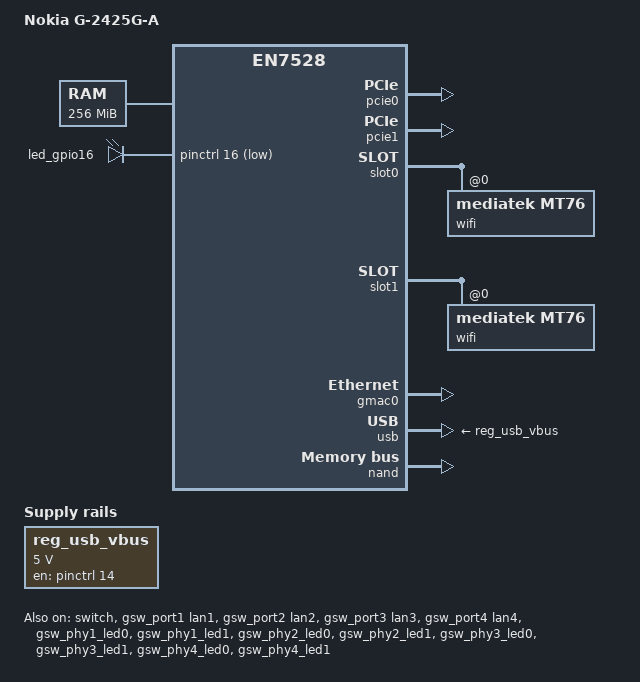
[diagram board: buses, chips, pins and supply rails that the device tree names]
// SPDX-License-Identifier: (GPL-2.0-only OR BSD-2-Clause)
/*
 * Nokia G-2425G-A (Airtel XStream Fiber) - RAM-only (initramfs) profile
 * OpenWrt target: econet / en7528
 *
 * Hardware (verified on the live unit, see the project handoff):
 *   SoC   : EcoNet EN7528, 2x MIPS 1004Kc, 256 MB RAM
 *   Wi-Fi : MT7603E   on PCIe0 (2.4 GHz) - 14c3:7603
 *           MT7663    on PCIe1 (5 GHz)  - 14c3:7663 (mt7615 driver)
 *   NAND  : SPI-NAND, 128 KiB erase blocks, 256 MiB
 *   USB   : EN7528 xHCI, VBUS = GPIO14 (active high)
 *
 * This image is intended to be booted from RAM and must never write flash.
 * &nand is kept enabled so the per-unit MAC addresses can be read from the
 * "ri" partition, but it deliberately omits:
 *
 *   econet,can-write-factory-bbt   -> the en75_bmt driver then refuses to
 *                                     write/rebuild the bad-block table
 *   econet,enable-remap            -> read-time block remapping, i.e. a
 *                                     flash write on a plain read
 *
 * so the BMT driver only ever reads. Partition offsets are confirmed against
 * this unit's own kernel (handoff Round 14), not a sibling board.
 *
 * As defence in depth every partition is ALSO marked read-only, so even a stray
 * "mtd write" / "flashcp" from an interactive shell is refused at the MTD layer
 * (ofpart turns "read-only" into mask_flags |= MTD_WRITEABLE, which clears the
 * write permission). That keeps the whole flash - bootloader, both A/B image
 * slots, and the vendor "config"/"data" UBIFS - byte identical across a power
 * cycle. Drop the flags only for a planned flash install.
 *
 * "rootfs" deliberately does NOT carry "linux,rootfs". add_mtd_device()
 * (drivers/mtd/mtdcore.c) reads that property and sets the kernel's global
 * ROOT_DEV to the partition, i.e. "mount and boot user space from" it, which is
 * the opposite of what a RAM-only boot wants. Add it, together with a cmdline
 * "root=", only if this board is ever installed to flash.
 *
 * Known TODOs (handoff Rounds 15/20):
 *   - 5 GHz calibration is embedded as "mediatek,eeprom-data" on &slot1 (see the
 *     note there). The 2.4 GHz MT7603 needs none: it already reports a full
 *     20 dBm txpower from its own OTP/efuse (measured live).
 *   - LED / button GPIO map is only partly known: the LAN socket LEDs are now
 *     wired through the switch PHY pinctrl (see &pinctrl below), the single
 *     GPIO LED and the button candidates are still unverified.
 */

/dts-v1/;

#include "en7528.dtsi"

#include <dt-bindings/gpio/gpio.h>
#include <dt-bindings/input/input.h>
#include <dt-bindings/leds/common.h>

/ {
	model = "Nokia G-2425G-A";
	compatible = "nokia,g2425g-a", "econet,en7528";

	memory@0 {
		device_type = "memory";
		reg = <0x00000000 0x10000000>;	/* 256 MB */
	};

	chosen {
		stdout-path = "/serial@1fbf0000:115200";
		linux,usable-memory-range = <0x00020000 0x0ffe0000>;
	};

	/*
	 * Only one LED is driven by a plain GPIO on this board
	 * (/proc/tc3162/led_def: led 42 -> GPIO16). Polarity and the physical
	 * LED it lights are unverified, so no color/function is asserted and
	 * 01_leds attaches no trigger.
	 */
	leds {
		compatible = "gpio-leds";

		led_gpio16: led-16 {
			gpios = <&pinctrl 16 GPIO_ACTIVE_LOW>;
		};
	};

	/* USB port power: GPIO14, active high (vendor-confirmed). */
	reg_usb_vbus: regulator-usb-vbus {
		compatible = "regulator-fixed";
		regulator-name = "usb-vbus";
		regulator-min-microvolt = <5000000>;
		regulator-max-microvolt = <5000000>;
		gpios = <&pinctrl 14 GPIO_ACTIVE_HIGH>;
		enable-active-high;
		regulator-always-on;
	};

	/*
	 * Button candidates from the vendor's button_driver.ko table
	 * (handoff Round 15). Which is reset/WPS/WLAN is not known, so this is
	 * disabled until a physical press test identifies them.
	 */
	keys {
		compatible = "gpio-keys-polled";
		poll-interval = <100>;
		status = "disabled";

		key-gpio-17 {
			label = "gpio17";
			gpios = <&pinctrl 17 GPIO_ACTIVE_LOW>;
			linux,code = <KEY_PROG1>;
		};

		key-gpio-16 {
			label = "gpio16";
			gpios = <&pinctrl 16 GPIO_ACTIVE_LOW>;
			linux,code = <KEY_PROG2>;
		};

		key-gpio-11 {
			label = "gpio11";
			gpios = <&pinctrl 11 GPIO_ACTIVE_LOW>;
			linux,code = <KEY_PROG3>;
		};

		key-gpio-18 {
			label = "gpio18";
			gpios = <&pinctrl 18 GPIO_ACTIVE_LOW>;
			linux,code = <KEY_PROG4>;
		};
	};
};

/* ------------------------------- PCIe ------------------------------- */

&pcie0 {
	status = "okay";
};

&pcie1 {
	status = "okay";
};

/*
 * 2.4 GHz radio. MAC = ri[0x3e] + 9, matching the vendor ra0
 * (18:45:93:71:cd:09). Calibration EEPROM is a UBIFS file, see TODO above.
 */
&slot0 {
	status = "okay";

	wifi@0,0 {
		compatible = "mediatek,mt76";
		reg = <0x0000 0 0 0 0>;
		nvmem-cells = <&macaddr_ri 9>;
		nvmem-cell-names = "mac-address";
		ieee80211-freq-limit = <2400000 2500000>;
	};
};

/*
 * 5 GHz radio (MT7663/MT7613, mt7615 driver). MAC = ri[0x3e] + 13,
 * matching the vendor rai0 (18:45:93:71:cd:0d).
 *
 * CALIBRATION (handoff Round 20).
 * Without a calibration source the mt7615 driver runs on chip defaults and
 * reports a flat 3 dBm limit on every 5 GHz channel (measured live), i.e. the
 * radio works but at ~2 mW. The calibration bitstream is a *file* on this
 * board (/configs/bin_ac/RT30xxEEPROM.bin, 1536 bytes), not a raw flash region,
 * so "mediatek,mtd-eeprom" is not usable. mt76 also understands
 * "mediatek,eeprom-data" (raw bytes in the DT), which is what we use: the file
 * is embedded verbatim at build time.
 *
 * Why this file is the right one, and is safe to embed:
 *   - size 1536 == MT7663_EEPROM_SIZE (mt7615/mt7615.h)
 *   - offset 0x00 holds the chip id 0x7663, which is exactly what
 *     mt7615_check_eeprom() accepts (0x7615 / 0x7622 / 0x7663)
 *   - offset 0x04 holds the MAC (00:0c:43:26:60:00 - a MediaTek OUI, not this
 *     unit's MAC), and MT_EE_MAC_ADDR == 0x004
 *   - offset 0x0c holds 0x14c3 (MediaTek PCI vendor id)
 * mt76_get_of_eeprom_data() only requires size <= the buffer it asks for
 * (MT7615_EEPROM_FULL_SIZE), so a 1536-byte property is accepted.
 * The interface MACs still come from nvmem-cells above: mt76_eeprom_override()
 * prefers the DT mac-address over whatever the EEPROM contains.
 *
 * Source file: board/nokia-mt7663-eeprom.bin (md5 3086e97e75a3c8d7248499543e4a374b),
 * extracted read-only from this unit's config UBIFS (mtd6 /configs).
 */
&slot1 {
	status = "okay";

	wifi@0,0 {
		compatible = "mediatek,mt76";
		reg = <0x0000 0 0 0 0>;
		nvmem-cells = <&macaddr_ri 13>;
		nvmem-cell-names = "mac-address";
		ieee80211-freq-limit = <5000000 6000000>;
		mediatek,eeprom-data = /incbin/("nokia-mt7663-eeprom.bin");
	};
};

/* ----------------------------- Ethernet ----------------------------- */

&gmac0 {
	status = "okay";
	nvmem-cells = <&macaddr_ri 0>;
	nvmem-cell-names = "mac-address";
};

/*
 * The EN7528 switch has no DSA support upstream yet; the four LAN sockets are
 * plain switch ports. Port -> socket numbering is taken from the DASAN/Jio
 * convention (port 1 = LAN1) and is not independently verified on this board.
 */
&switch {
	status = "okay";
};

&gsw_port1 {
	label = "lan1";
	status = "okay";
};

&gsw_port2 {
	label = "lan2";
	status = "okay";
};

&gsw_port3 {
	label = "lan3";
	status = "okay";
};

&gsw_port4 {
	label = "lan4";
	status = "okay";
};

/*
 * LAN socket LEDs.
 *
 * The four RJ45 LEDs are switch-PHY LEDs (gsw_phyN_ledM in en7528.dtsi), not
 * GPIOs, and they need two independent things to work:
 *
 *   1. the pad must be muxed to the PHY LED function, i.e. the "gbe-led"
 *      pinctrl state must exist. When it did not, the driver logged
 *      "Failed to setup PHY LED pinctrl" once per PHY and the active-low pins
 *      floated, so every LED sat lit.
 *
 *   2. the led@N child of the PHY must be "okay". phylib only walks *available*
 *      children (of_phy_leds() in drivers/net/phy/phy_device.c), and every leds
 *      node in en7528.dtsi is "disabled". With them disabled nothing ever
 *      programs the PHY LED registers, so the LEDs keep their reset state -
 *      which, now that the pads are muxed, means lit. (CONFIG_PHYLIB_LEDS is
 *      already =y in target/linux/econet/en7528/config-6.18.)
 *
 * fn = LED colour of the led@N classdev: phylib names it
 * "<mdio dev>:<color>:<function>", e.g. "mt7530-0:09:green:lan". 03_nokia-board
 * points a netdev trigger at each of those names.
 *
 * The EN7528 pinctrl is a crossbar: every LANk pad can show the LED state of
 * any of the four PHYs (LANk_PHY_LED_MAP(n)). The identity mapping below
 * (PHY n -> pad n) is a GUESS and is not verified on this unit; if a socket's
 * LED follows a different socket, swap the pad numbers here.
 *
 * gpio30/32/34/36 are the LANk_LED0 pads, gpio31/33/35/37 the LANk_LED1 pads
 * (pinctrl-en7528, datasheet table 4-12). Both banks are muxed because it is
 * not known yet which one is fitted in the sockets. Nothing else on this board
 * uses gpio30..37: the button candidates are 11/16/17/18, USB VBUS is 14 and
 * the GPIO LED is 16.
 */
&pinctrl {
	gswp1_led0_pins: gswp1-led0-pins {
		mux {
			function = "phy1_led0";
			groups = "gpio30";
		};
	};

	gswp1_led1_pins: gswp1-led1-pins {
		mux {
			function = "phy1_led1";
			groups = "gpio31";
		};
	};

	gswp2_led0_pins: gswp2-led0-pins {
		mux {
			function = "phy2_led0";
			groups = "gpio32";
		};
	};

	gswp2_led1_pins: gswp2-led1-pins {
		mux {
			function = "phy2_led1";
			groups = "gpio33";
		};
	};

	gswp3_led0_pins: gswp3-led0-pins {
		mux {
			function = "phy3_led0";
			groups = "gpio34";
		};
	};

	gswp3_led1_pins: gswp3-led1-pins {
		mux {
			function = "phy3_led1";
			groups = "gpio35";
		};
	};

	gswp4_led0_pins: gswp4-led0-pins {
		mux {
			function = "phy4_led0";
			groups = "gpio36";
		};
	};

	gswp4_led1_pins: gswp4-led1-pins {
		mux {
			function = "phy4_led1";
			groups = "gpio37";
		};
	};
};

&gsw_phy1 {
	pinctrl-names = "gbe-led";
	pinctrl-0 = <&gswp1_led0_pins &gswp1_led1_pins>;
};

&gsw_phy2 {
	pinctrl-names = "gbe-led";
	pinctrl-0 = <&gswp2_led0_pins &gswp2_led1_pins>;
};

&gsw_phy3 {
	pinctrl-names = "gbe-led";
	pinctrl-0 = <&gswp3_led0_pins &gswp3_led1_pins>;
};

&gsw_phy4 {
	pinctrl-names = "gbe-led";
	pinctrl-0 = <&gswp4_led0_pins &gswp4_led1_pins>;
};

/*
 * led0 = the "link/activity" LED of each socket, led1 = the speed LED, by the
 * usual MediaTek board convention. Unverified here, and harmless if the wrong
 * way round: both end up following their PHY's link state.
 *
 * "active-low" is REQUIRED on this board and was the fix for the inverted LED
 * behaviour seen on the v4 image (idle = lit, link up = dark).  It is set from
 * the observed reset state: with the pads muxed, the LED block powers up with
 * its registers cleared and all four sockets lit with no cable, i.e. the fitted
 * LEDs are common-anode and the PHY pin sinks current to light them.  The
 * driver's default polarity is active-high, so the netdev trigger's "off"
 * (link down) drove the pin low -> lit, and "on" (link up) drove it high ->
 * dark.  "active-low" makes of_phy_led() call an7581_phy_led_polarity_set()
 * with PHY_LED_ACTIVE_LOW, which sets MTK_PHY_LED_ON_POLARITY (BIT 14) in the
 * per-LED ON_CTRL register (mtk-ge-soc.c), so "on" now means pin low = lit.
 */
&gsw_phy1_led0 {
	status = "okay";
	active-low;
	function = LED_FUNCTION_LAN;
	color = <LED_COLOR_ID_GREEN>;
};

&gsw_phy1_led1 {
	status = "okay";
	active-low;
	function = LED_FUNCTION_LAN;
	color = <LED_COLOR_ID_AMBER>;
};

&gsw_phy2_led0 {
	status = "okay";
	active-low;
	function = LED_FUNCTION_LAN;
	color = <LED_COLOR_ID_GREEN>;
};

&gsw_phy2_led1 {
	status = "okay";
	active-low;
	function = LED_FUNCTION_LAN;
	color = <LED_COLOR_ID_AMBER>;
};

&gsw_phy3_led0 {
	status = "okay";
	active-low;
	function = LED_FUNCTION_LAN;
	color = <LED_COLOR_ID_GREEN>;
};

&gsw_phy3_led1 {
	status = "okay";
	active-low;
	function = LED_FUNCTION_LAN;
	color = <LED_COLOR_ID_AMBER>;
};

&gsw_phy4_led0 {
	status = "okay";
	active-low;
	function = LED_FUNCTION_LAN;
	color = <LED_COLOR_ID_GREEN>;
};

&gsw_phy4_led1 {
	status = "okay";
	active-low;
	function = LED_FUNCTION_LAN;
	color = <LED_COLOR_ID_AMBER>;
};


/* ------------------------------ USB --------------------------------- */

&usb {
	status = "okay";
	vbus-supply = <&reg_usb_vbus>;
};

/* ------------------------------ Flash ------------------------------- */
/*
 * READ-ONLY configuration. Do NOT add econet,can-write-factory-bbt or
 * econet,enable-remap: both can cause flash writes during normal operation.
 *
 * Layout confirmed in handoff Round 14 from this unit's own kernel partition
 * table (every region after "bootloader" is MTDPART_OFS_APPEND, so offsets are
 * the cumulative sum of the sizes). ubi0=config, ubi1=log, ubi2=data(/flash).
 *
 * Every partition below is read-only, which makes the "never write flash" rule
 * structural rather than a matter of discipline. This also matches what the
 * vendor kernel does anyway - its boot log prints
 *   mtd: partition "rootfs" doesn't start on an erase/write block boundary
 *   -- force read-only
 * because "rootfs" sits at linux+0x3defb8 and is not erase-block aligned.
 */
&nand {
	status = "okay";
	econet,bmt;
	econet,bbt-table-size = <250>;

	partitions: partitions {
		compatible = "fixed-partitions";
		#address-cells = <1>;
		#size-cells = <1>;

		partition@0 {
			label = "bootloader";
			reg = <0x0 0x40000>;
			read-only;
		};

		partition@40000 {
			label = "romfile";
			reg = <0x40000 0x40000>;
			read-only;
		};

		/* image slot A (vendor version 3FE49362IJHK03) */
		partition@80000 {
			label = "image0";
			reg = <0x80000 0x2200000>;
			read-only;
		};

		/* image slot B, currently active (3FE49362IJHK33) */
		partition@2280000 {
			label = "linux";
			reg = <0x2280000 0x2200000>;
			read-only;
		};

		/*
		 * Derived by the vendor kernel from the active image header and
		 * nested inside "linux", so the two overlap by design. read-only
		 * because the vendor kernel forces that anyway (it is not on an
		 * erase-block boundary); no "linux,rootfs" - see the header note.
		 */
		partition@265efb8 {
			label = "rootfs";
			reg = <0x265efb8 0x1e21048>;
			read-only;
		};

		/* offline/factory recovery image (3FE49107AGDA19) */
		partition@4480000 {
			label = "image_oflt";
			reg = <0x4480000 0xf00000>;
			read-only;
		};

		partition@5380000 {
			label = "config";
			reg = <0x5380000 0x800000>;
			read-only;
		};

		partition@5b80000 {
			label = "log";
			reg = <0x5b80000 0xc00000>;
			read-only;
		};

		partition@6780000 {
			label = "extfs";
			reg = <0x6780000 0x600000>;
			read-only;
		};

		partition@6d80000 {
			label = "bosa";
			reg = <0x6d80000 0x40000>;
			read-only;
		};

		partition@6dc0000 {
			label = "flag";
			reg = <0x6dc0000 0x40000>;
			read-only;
		};

		partition@6e00000 {
			label = "flagback";
			reg = <0x6e00000 0x40000>;
			read-only;
		};

		partition@6e40000 {
			label = "ri";
			reg = <0x6e40000 0x40000>;
			read-only;

			nvmem-layout {
				compatible = "fixed-layout";
				#address-cells = <1>;
				#size-cells = <1>;

				/*
				 * Base MAC at ri[0x3e]. Observed interface MACs:
				 *   +0   eth0/br0
				 *   +9   ra0  (2.4 GHz)
				 *   +13  rai0 (5 GHz)
				 */
				macaddr_ri: macaddr@3e {
					compatible = "mac-base";
					reg = <0x3e 0x6>;
					#nvmem-cell-cells = <1>;
				};
			};
		};

		partition@6e80000 {
			label = "riback";
			reg = <0x6e80000 0x40000>;
			read-only;
		};

		/* UBI (mtd14 -> ubi2, mounted at /flash by the vendor firmware) */
		partition@6ec0000 {
			label = "data";
			reg = <0x6ec0000 0x6e00000>;
			read-only;
		};
	};
};
